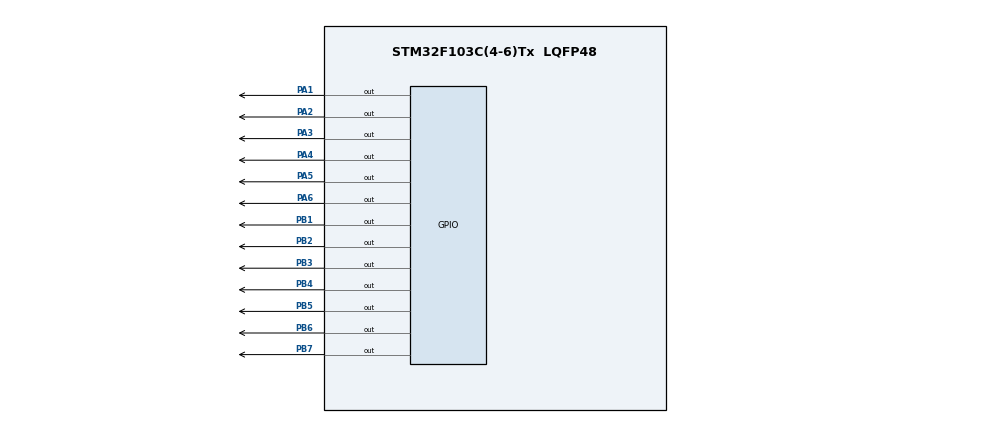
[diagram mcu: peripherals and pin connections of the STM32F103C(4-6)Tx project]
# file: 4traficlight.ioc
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Mcu.Family=STM32F1
Mcu.Name=STM32F103C(4-6)Tx
Mcu.Package=LQFP48
NVIC.PriorityGroup=NVIC_PRIORITYGROUP_4
PA1.Signal=GPIO_Output
PA2.Signal=GPIO_Output
PA3.Signal=GPIO_Output
PA4.Signal=GPIO_Output
PA5.Signal=GPIO_Output
PA6.Signal=GPIO_Output
PB1.Signal=GPIO_Output
PB2.Signal=GPIO_Output
PB3.Signal=GPIO_Output
PB4.Signal=GPIO_Output
PB5.Signal=GPIO_Output
PB6.Signal=GPIO_Output
PB7.Signal=GPIO_Output
PD0-OSC_IN.Mode=HSE-External-Oscillator
PD0-OSC_IN.Signal=RCC_OSC_IN
PD1-OSC_OUT.Mode=HSE-External-Oscillator
PD1-OSC_OUT.Signal=RCC_OSC_OUT
ProjectManager.HeapSize=0x200
ProjectManager.StackSize=0x400
ProjectManager.TargetToolchain=STM32CubeIDE
RCC.APB1Freq_Value=8000000
RCC.APB2Freq_Value=8000000
RCC.SYSCLKSource=RCC_SYSCLKSOURCE_HSE
VP_SYS_VS_ND.Mode=No_Debug
board=custom

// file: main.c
/* USER CODE BEGIN Header */
/**
  ******************************************************************************
  * @file           : main.c
  * @brief          : Main program body
  ******************************************************************************
  * @attention
  *
  * <h2><center>&copy; Copyright (c) 2021 STMicroelectronics.
  * All rights reserved.</center></h2>
  *
  * This software component is licensed by ST under BSD 3-Clause license,
  * the "License"; You may not use this file except in compliance with the
  * License. You may obtain a copy of the License at:
  *                        opensource.org/licenses/BSD-3-Clause
  *
  ******************************************************************************
  */
/* USER CODE END Header */
#include "main.h"

void SystemClock_Config(void);
static void MX_GPIO_Init(void);

/* USER CODE BEGIN 0 */
void display7SEG(int num){
	switch(num)
	{
	case 0:
		HAL_GPIO_WritePin(GPIOB, GPIO_PIN_1, GPIO_PIN_RESET);
		HAL_GPIO_WritePin(GPIOB, GPIO_PIN_2, GPIO_PIN_RESET);
		HAL_GPIO_WritePin(GPIOB, GPIO_PIN_3, GPIO_PIN_RESET);
		HAL_GPIO_WritePin(GPIOB, GPIO_PIN_4, GPIO_PIN_RESET);
		HAL_GPIO_WritePin(GPIOB, GPIO_PIN_5, GPIO_PIN_RESET);
		HAL_GPIO_WritePin(GPIOB, GPIO_PIN_6, GPIO_PIN_RESET);
		HAL_GPIO_WritePin(GPIOB, GPIO_PIN_7, GPIO_PIN_SET);
		break;
	case 1:
		HAL_GPIO_WritePin(GPIOB, GPIO_PIN_1, GPIO_PIN_SET);
				HAL_GPIO_WritePin(GPIOB, GPIO_PIN_2, GPIO_PIN_RESET);
				HAL_GPIO_WritePin(GPIOB, GPIO_PIN_3, GPIO_PIN_RESET);
				HAL_GPIO_WritePin(GPIOB, GPIO_PIN_4, GPIO_PIN_SET);
				HAL_GPIO_WritePin(GPIOB, GPIO_PIN_5, GPIO_PIN_SET);
				HAL_GPIO_WritePin(GPIOB, GPIO_PIN_6, GPIO_PIN_SET);
				HAL_GPIO_WritePin(GPIOB, GPIO_PIN_7, GPIO_PIN_SET);
				break;
	case 2:
		HAL_GPIO_WritePin(GPIOB, GPIO_PIN_1, GPIO_PIN_RESET);
						HAL_GPIO_WritePin(GPIOB, GPIO_PIN_2, GPIO_PIN_RESET);
						HAL_GPIO_WritePin(GPIOB, GPIO_PIN_3, GPIO_PIN_SET);
						HAL_GPIO_WritePin(GPIOB, GPIO_PIN_4, GPIO_PIN_RESET);
						HAL_GPIO_WritePin(GPIOB, GPIO_PIN_5, GPIO_PIN_RESET);
						HAL_GPIO_WritePin(GPIOB, GPIO_PIN_6, GPIO_PIN_SET);
						HAL_GPIO_WritePin(GPIOB, GPIO_PIN_7, GPIO_PIN_RESET);
						break;
	case 3:
		HAL_GPIO_WritePin(GPIOB, GPIO_PIN_1, GPIO_PIN_RESET);
								HAL_GPIO_WritePin(GPIOB, GPIO_PIN_2, GPIO_PIN_RESET);
								HAL_GPIO_WritePin(GPIOB, GPIO_PIN_3, GPIO_PIN_RESET);
								HAL_GPIO_WritePin(GPIOB, GPIO_PIN_4, GPIO_PIN_RESET);
								HAL_GPIO_WritePin(GPIOB, GPIO_PIN_5, GPIO_PIN_SET);
								HAL_GPIO_WritePin(GPIOB, GPIO_PIN_6, GPIO_PIN_SET);
								HAL_GPIO_WritePin(GPIOB, GPIO_PIN_7, GPIO_PIN_RESET);
								break;
	case 4:
		HAL_GPIO_WritePin(GPIOB, GPIO_PIN_1, GPIO_PIN_SET);
										HAL_GPIO_WritePin(GPIOB, GPIO_PIN_2, GPIO_PIN_RESET);
										HAL_GPIO_WritePin(GPIOB, GPIO_PIN_3, GPIO_PIN_RESET);
										HAL_GPIO_WritePin(GPIOB, GPIO_PIN_4, GPIO_PIN_SET);
										HAL_GPIO_WritePin(GPIOB, GPIO_PIN_5, GPIO_PIN_SET);
										HAL_GPIO_WritePin(GPIOB, GPIO_PIN_6, GPIO_PIN_RESET);
										HAL_GPIO_WritePin(GPIOB, GPIO_PIN_7, GPIO_PIN_RESET);
										break;
	case 5:
		HAL_GPIO_WritePin(GPIOB, GPIO_PIN_1, GPIO_PIN_RESET);
												HAL_GPIO_WritePin(GPIOB, GPIO_PIN_2, GPIO_PIN_SET);
												HAL_GPIO_WritePin(GPIOB, GPIO_PIN_3, GPIO_PIN_RESET);
												HAL_GPIO_WritePin(GPIOB, GPIO_PIN_4, GPIO_PIN_RESET);
												HAL_GPIO_WritePin(GPIOB, GPIO_PIN_5, GPIO_PIN_SET);
												HAL_GPIO_WritePin(GPIOB, GPIO_PIN_6, GPIO_PIN_RESET);
												HAL_GPIO_WritePin(GPIOB, GPIO_PIN_7, GPIO_PIN_RESET);
												break;
	case 6:
		HAL_GPIO_WritePin(GPIOB, GPIO_PIN_1, GPIO_PIN_RESET);
														HAL_GPIO_WritePin(GPIOB, GPIO_PIN_2, GPIO_PIN_SET);
														HAL_GPIO_WritePin(GPIOB, GPIO_PIN_3, GPIO_PIN_RESET);
														HAL_GPIO_WritePin(GPIOB, GPIO_PIN_4, GPIO_PIN_RESET);
														HAL_GPIO_WritePin(GPIOB, GPIO_PIN_5, GPIO_PIN_RESET);
														HAL_GPIO_WritePin(GPIOB, GPIO_PIN_6, GPIO_PIN_RESET);
														HAL_GPIO_WritePin(GPIOB, GPIO_PIN_7, GPIO_PIN_RESET);
														break;
	case 7:
		HAL_GPIO_WritePin(GPIOB, GPIO_PIN_1, GPIO_PIN_RESET);
										HAL_GPIO_WritePin(GPIOB, GPIO_PIN_2, GPIO_PIN_RESET);
										HAL_GPIO_WritePin(GPIOB, GPIO_PIN_3, GPIO_PIN_RESET);
										HAL_GPIO_WritePin(GPIOB, GPIO_PIN_4, GPIO_PIN_SET);
										HAL_GPIO_WritePin(GPIOB, GPIO_PIN_5, GPIO_PIN_SET);
										HAL_GPIO_WritePin(GPIOB, GPIO_PIN_6, GPIO_PIN_SET);
										HAL_GPIO_WritePin(GPIOB, GPIO_PIN_7, GPIO_PIN_SET);
										break;
	case 8:
		HAL_GPIO_WritePin(GPIOB, GPIO_PIN_1, GPIO_PIN_RESET);
				HAL_GPIO_WritePin(GPIOB, GPIO_PIN_2, GPIO_PIN_RESET);
				HAL_GPIO_WritePin(GPIOB, GPIO_PIN_3, GPIO_PIN_RESET);
				HAL_GPIO_WritePin(GPIOB, GPIO_PIN_4, GPIO_PIN_RESET);
				HAL_GPIO_WritePin(GPIOB, GPIO_PIN_5, GPIO_PIN_RESET);
				HAL_GPIO_WritePin(GPIOB, GPIO_PIN_6, GPIO_PIN_RESET);
				HAL_GPIO_WritePin(GPIOB, GPIO_PIN_7, GPIO_PIN_RESET);
				break;
	case 9:
		HAL_GPIO_WritePin(GPIOB, GPIO_PIN_1, GPIO_PIN_RESET);
				HAL_GPIO_WritePin(GPIOB, GPIO_PIN_2, GPIO_PIN_RESET);
				HAL_GPIO_WritePin(GPIOB, GPIO_PIN_3, GPIO_PIN_RESET);
				HAL_GPIO_WritePin(GPIOB, GPIO_PIN_4, GPIO_PIN_SET);
				HAL_GPIO_WritePin(GPIOB, GPIO_PIN_5, GPIO_PIN_SET);
				HAL_GPIO_WritePin(GPIOB, GPIO_PIN_6, GPIO_PIN_RESET);
				HAL_GPIO_WritePin(GPIOB, GPIO_PIN_7, GPIO_PIN_RESET);
				break;
	default:
		break;
	}
}

/* USER CODE END 0 */

int main(void)
{
  /* USER CODE BEGIN 1 */
	int count = 0;
	int state = 0;
	int counter = 5;

  /* USER CODE END 1 */

  /* MCU Configuration--------------------------------------------------------*/

  /* Reset of all peripherals, Initializes the Flash interface and the Systick. */
  HAL_Init();

  /* Configure the system clock */
  SystemClock_Config();

  /* Initialize all configured peripherals */
  MX_GPIO_Init();

  /* Infinite loop */
  while (1)
  {
	  switch(state)
	  	  {
	  	  case 0://do xanh
	  		  HAL_GPIO_WritePin(GPIOA,GPIO_PIN_3, GPIO_PIN_SET);
	  		  HAL_GPIO_WritePin(GPIOA,GPIO_PIN_1, GPIO_PIN_RESET);
	  		  HAL_GPIO_WritePin(GPIOA,GPIO_PIN_2, GPIO_PIN_RESET);
	  		  HAL_GPIO_WritePin(GPIOA,GPIO_PIN_6, GPIO_PIN_RESET);
	  		  HAL_GPIO_WritePin(GPIOA,GPIO_PIN_4, GPIO_PIN_SET);
	  		  HAL_GPIO_WritePin(GPIOA,GPIO_PIN_5, GPIO_PIN_RESET);
	  		display7SEG(counter);
	  			  			counter--;
	  		  count = count + 1;

	  		HAL_Delay(1000);
	  		  if(count == 3)
	  		  {
	  			  state = 1;
	  			  count = 0;
	  		  }
	  		  break;
	  	  case 1://do vang
	  		  HAL_GPIO_WritePin(GPIOA,GPIO_PIN_3, GPIO_PIN_SET);//do
	  		  		  HAL_GPIO_WritePin(GPIOA,GPIO_PIN_1, GPIO_PIN_RESET);
	  		  		  HAL_GPIO_WritePin(GPIOA,GPIO_PIN_2, GPIO_PIN_RESET);
	  		  		  HAL_GPIO_WritePin(GPIOA,GPIO_PIN_6, GPIO_PIN_RESET);
	  		  		  HAL_GPIO_WritePin(GPIOA,GPIO_PIN_4, GPIO_PIN_RESET);
	  		  		  HAL_GPIO_WritePin(GPIOA,GPIO_PIN_5, GPIO_PIN_SET);
	  		  		display7SEG(counter);
	  		  		counter--;
	  		  		  count = count + 1;

	  		  	HAL_Delay(1000);
	  		  		if(count == 2)
	  		  				  {
	  		  					  state = 2;
	  		  					  count = 0;
	  		  					  counter = 3;
	  		  				  }
	  		  		break;
	  	  case 2://xanh do
	  		  HAL_GPIO_WritePin(GPIOA,GPIO_PIN_3, GPIO_PIN_RESET);
	  		  		  		  HAL_GPIO_WritePin(GPIOA,GPIO_PIN_1, GPIO_PIN_SET);
	  		  		  		  HAL_GPIO_WritePin(GPIOA,GPIO_PIN_2, GPIO_PIN_RESET);
	  		  		  		  HAL_GPIO_WritePin(GPIOA,GPIO_PIN_6, GPIO_PIN_SET);
	  		  		  		  HAL_GPIO_WritePin(GPIOA,GPIO_PIN_4, GPIO_PIN_RESET);
	  		  		  		  HAL_GPIO_WritePin(GPIOA,GPIO_PIN_5, GPIO_PIN_RESET);
	  		  		  		  count = count + 1;

	  		  		  		  			display7SEG(counter--);

	  		  		HAL_Delay(1000);
	  		  		  		if(count == 3)
	  		  		  				  {
	  		  		  					  state = 3;
	  		  		  					  counter = 2;
	  		  		  					  count = 0;
	  		  		  				  }
	  		  		  		break;
	  	  case 3://vang do
	  		  HAL_GPIO_WritePin(GPIOA,GPIO_PIN_3, GPIO_PIN_RESET);
	  		  		  		  		  HAL_GPIO_WritePin(GPIOA,GPIO_PIN_1, GPIO_PIN_RESET);
	  		  		  		  		  HAL_GPIO_WritePin(GPIOA,GPIO_PIN_2, GPIO_PIN_SET);
	  		  		  		  		  HAL_GPIO_WritePin(GPIOA,GPIO_PIN_6, GPIO_PIN_SET);
	  		  		  		  		  HAL_GPIO_WritePin(GPIOA,GPIO_PIN_4, GPIO_PIN_RESET);
	  		  		  		  		  HAL_GPIO_WritePin(GPIOA,GPIO_PIN_5, GPIO_PIN_RESET);
	  		  		  		  		  count = count + 1;

	  		  		  		  		  		 display7SEG(counter--);

	  		  		  		HAL_Delay(1000);
	  		  		  		  		if(count == 2)
	  		  		  		  				  {
	  		  		  		  					  state = 0;
	  		  		  		  					  count = 0;
	  		  		  		  					  counter = 5;
	  		  		  		  				  }
	  		  		  		  		break;
	  	  default:
	  		  break;
	  	  }

  }
}

void SystemClock_Config(void)
{
  RCC_OscInitTypeDef RCC_OscInitStruct = {0};
  RCC_ClkInitTypeDef RCC_ClkInitStruct = {0};

  /** Initializes the RCC Oscillators according to the specified parameters
  * in the RCC_OscInitTypeDef structure.
  */
  RCC_OscInitStruct.OscillatorType = RCC_OSCILLATORTYPE_HSE;
  RCC_OscInitStruct.HSEState = RCC_HSE_ON;
  RCC_OscInitStruct.PLL.PLLState = RCC_PLL_NONE;
  if (HAL_RCC_OscConfig(&RCC_OscInitStruct) != HAL_OK)
  {
    Error_Handler();
  }
  /** Initializes the CPU, AHB and APB buses clocks
  */
  RCC_ClkInitStruct.ClockType = RCC_CLOCKTYPE_HCLK|RCC_CLOCKTYPE_SYSCLK
                              |RCC_CLOCKTYPE_PCLK1|RCC_CLOCKTYPE_PCLK2;
  RCC_ClkInitStruct.SYSCLKSource = RCC_SYSCLKSOURCE_HSE;
  RCC_ClkInitStruct.AHBCLKDivider = RCC_SYSCLK_DIV1;
  RCC_ClkInitStruct.APB1CLKDivider = RCC_HCLK_DIV1;
  RCC_ClkInitStruct.APB2CLKDivider = RCC_HCLK_DIV1;

  if (HAL_RCC_ClockConfig(&RCC_ClkInitStruct, FLASH_LATENCY_0) != HAL_OK)
  {
    Error_Handler();
  }
}

static void MX_GPIO_Init(void)
{
  GPIO_InitTypeDef GPIO_InitStruct = {0};

  /* GPIO Ports Clock Enable */
  __HAL_RCC_GPIOD_CLK_ENABLE();
  __HAL_RCC_GPIOA_CLK_ENABLE();
  __HAL_RCC_GPIOB_CLK_ENABLE();

  /*Configure GPIO pin Output Level */
  HAL_GPIO_WritePin(GPIOA, GPIO_PIN_1|GPIO_PIN_2|GPIO_PIN_3|GPIO_PIN_4
                          |GPIO_PIN_5|GPIO_PIN_6, GPIO_PIN_RESET);

  /*Configure GPIO pin Output Level */
  HAL_GPIO_WritePin(GPIOB, GPIO_PIN_1|GPIO_PIN_2|GPIO_PIN_3|GPIO_PIN_4
                          |GPIO_PIN_5|GPIO_PIN_6|GPIO_PIN_7, GPIO_PIN_RESET);

  /*Configure GPIO pins : PA1 PA2 PA3 PA4
                           PA5 PA6 */
  GPIO_InitStruct.Pin = GPIO_PIN_1|GPIO_PIN_2|GPIO_PIN_3|GPIO_PIN_4
                          |GPIO_PIN_5|GPIO_PIN_6;
  GPIO_InitStruct.Mode = GPIO_MODE_OUTPUT_PP;
  GPIO_InitStruct.Pull = GPIO_NOPULL;
  GPIO_InitStruct.Speed = GPIO_SPEED_FREQ_LOW;
  HAL_GPIO_Init(GPIOA, &GPIO_InitStruct);

  /*Configure GPIO pins : PB1 PB2 PB3 PB4
                           PB5 PB6 PB7 */
  GPIO_InitStruct.Pin = GPIO_PIN_1|GPIO_PIN_2|GPIO_PIN_3|GPIO_PIN_4
                          |GPIO_PIN_5|GPIO_PIN_6|GPIO_PIN_7;
  GPIO_InitStruct.Mode = GPIO_MODE_OUTPUT_PP;
  GPIO_InitStruct.Pull = GPIO_NOPULL;
  GPIO_InitStruct.Speed = GPIO_SPEED_FREQ_LOW;
  HAL_GPIO_Init(GPIOB, &GPIO_InitStruct);

}

void Error_Handler(void)
{
  __disable_irq();
  while (1)
  {
  }
}

/************************ (C) COPYRIGHT STMicroelectronics *****END OF FILE****/
